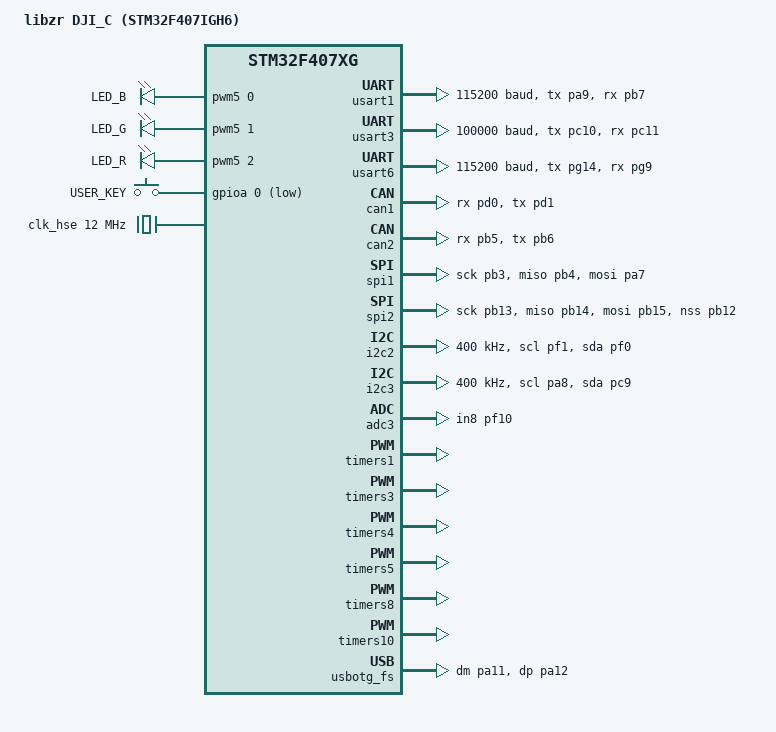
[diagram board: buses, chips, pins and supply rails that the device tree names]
/*
 * Copyright (c) 2026 libzr
 *
 * SPDX-License-Identifier: Apache-2.0
 *
 * libzr DJI_C 板级设备树
 *   MCU : STM32F407IGH6 (UFBGA176, 1 MB Flash / 128 KB SRAM + 64 KB CCM)
 *   晶振: HSE 12 MHz, SYSCLK 168 MHz
 *   调试: CMSIS-DAP / JLink, SWD
 *
 * 引脚定义来自 BetaRobot/cubemx/DJI_C 与 bsp/bsp_map/DJI_C。
 */

/dts-v1/;

#include <st/f4/stm32f407Xg.dtsi>
#include <st/f4/stm32f407i(e-g)hx-pinctrl.dtsi>
#include <zephyr/dt-bindings/input/input-event-codes.h>
#include <zephyr/dt-bindings/gpio/gpio.h>
#include <zephyr/dt-bindings/i2c/i2c.h>
#include <zephyr/dt-bindings/pwm/pwm.h>

/ {
	model = "libzr DJI_C (STM32F407IGH6)";
	compatible = "libzr,dji-c";

	chosen {
		/* USART3(PC10/PC11) 固定给 SBUS，控制台放在 USART6 */
		zephyr,console = &usart6;
		zephyr,shell-uart = &usart6;
		zephyr,sram = &sram0;
		zephyr,flash = &flash0;
		zephyr,canbus = &can1;
	};

	/* 三色灯由 TIM5 CH1/CH2/CH3 驱动 */
	pwmleds: pwmleds {
		compatible = "pwm-leds";

		led_b: led_0 {
			pwms = <&pwm5 0 PWM_MSEC(20) PWM_POLARITY_NORMAL>;
			label = "LED_B";
		};

		led_g: led_1 {
			pwms = <&pwm5 1 PWM_MSEC(20) PWM_POLARITY_NORMAL>;
			label = "LED_G";
		};

		led_r: led_2 {
			pwms = <&pwm5 2 PWM_MSEC(20) PWM_POLARITY_NORMAL>;
			label = "LED_R";
		};
	};

	gpio_keys: gpio_keys {
		compatible = "gpio-keys";

		/* 按键按低有效、内部上拉处理；若硬件相反请改为 GPIO_ACTIVE_HIGH */
		user_key: button_0 {
			label = "USER_KEY";
			gpios = <&gpioa 0 (GPIO_ACTIVE_LOW | GPIO_PULL_UP)>;
			zephyr,code = <INPUT_KEY_0>;
		};
	};

	aliases {
		led0 = &led_b;
		led1 = &led_g;
		led2 = &led_r;
		sw0 = &user_key;
	};
};

/* ------------------------------------------------------------------------- */
/* 时钟：HSE 12 MHz -> PLL 168 MHz                                            */
/* ------------------------------------------------------------------------- */

&clk_hse {
	clock-frequency = <DT_FREQ_M(12)>;
	status = "okay";
};

&pll {
	div-m = <6>;
	mul-n = <168>;
	div-p = <2>;
	div-q = <7>;
	clocks = <&clk_hse>;
	status = "okay";
};

&rcc {
	clocks = <&pll>;
	clock-frequency = <DT_FREQ_M(168)>;
	ahb-prescaler = <1>;
	apb1-prescaler = <4>;	/* 42 MHz  */
	apb2-prescaler = <2>;	/* 84 MHz  */
};

/* ------------------------------------------------------------------------- */
/* 串口                                                                       */
/* ------------------------------------------------------------------------- */

/* USART1: 图传 / 裁判系统 (921600 8N1) */
&usart1 {
	pinctrl-0 = <&usart1_tx_pa9 &usart1_rx_pb7>;
	pinctrl-names = "default";
	current-speed = <115200>;
	status = "okay";
};

/* USART3: SBUS 接收 (100000 8E1) */
&usart3 {
	pinctrl-0 = <&usart3_tx_pc10 &usart3_rx_pc11>;
	pinctrl-names = "default";
	current-speed = <100000>;
	status = "okay";
};

/* USART6: 控制台 / vofa */
&usart6 {
	pinctrl-0 = <&usart6_tx_pg14 &usart6_rx_pg9>;
	pinctrl-names = "default";
	current-speed = <115200>;
	status = "okay";
};

/* ------------------------------------------------------------------------- */
/* CAN                                                                        */
/* ------------------------------------------------------------------------- */

&can1 {
	pinctrl-0 = <&can1_rx_pd0 &can1_tx_pd1>;
	pinctrl-names = "default";
	status = "okay";
};

&can2 {
	pinctrl-0 = <&can2_rx_pb5 &can2_tx_pb6>;
	pinctrl-names = "default";
	status = "okay";
};

/* ------------------------------------------------------------------------- */
/* SPI                                                                        */
/* ------------------------------------------------------------------------- */

/* SPI1: BMI088 (PB3=SCK, PB4=MISO, PA7=MOSI) */
&spi1 {
	pinctrl-0 = <&spi1_sck_pb3 &spi1_miso_pb4 &spi1_mosi_pa7>;
	pinctrl-names = "default";
	status = "okay";
};

/* SPI2: PB13=SCK, PB14=MISO, PB15=MOSI, PB12=NSS */
&spi2 {
	pinctrl-0 = <&spi2_sck_pb13 &spi2_miso_pb14 &spi2_mosi_pb15 &spi2_nss_pb12>;
	pinctrl-names = "default";
	status = "okay";
};

/* ------------------------------------------------------------------------- */
/* I2C                                                                        */
/* ------------------------------------------------------------------------- */

/* I2C2: PF1=SCL, PF0=SDA */
&i2c2 {
	pinctrl-0 = <&i2c2_scl_pf1 &i2c2_sda_pf0>;
	pinctrl-names = "default";
	clock-frequency = <I2C_BITRATE_FAST>;
	status = "okay";
};

/* I2C3: PA8=SCL, PC9=SDA */
&i2c3 {
	pinctrl-0 = <&i2c3_scl_pa8 &i2c3_sda_pc9>;
	pinctrl-names = "default";
	clock-frequency = <I2C_BITRATE_FAST>;
	status = "okay";
};

/* ------------------------------------------------------------------------- */
/* ADC                                                                        */
/* ------------------------------------------------------------------------- */

/* ADC3_IN8: PF10 */
&adc3 {
	pinctrl-0 = <&adc3_in8_pf10>;
	pinctrl-names = "default";
	st,adc-prescaler = <4>;
	status = "okay";
};

/* ------------------------------------------------------------------------- */
/* PWM                                                                        */
/* ------------------------------------------------------------------------- */

/* TIM1: PE9 / PE11 / PE13 / PE14 */
&timers1 {
	status = "okay";

	pwm1: pwm {
		status = "okay";
		pinctrl-0 = <&tim1_ch1_pe9 &tim1_ch2_pe11
			     &tim1_ch3_pe13 &tim1_ch4_pe14>;
		pinctrl-names = "default";
	};
};

/* TIM3_CH3: PC8，激光 */
&timers3 {
	status = "okay";

	pwm3: pwm {
		status = "okay";
		pinctrl-0 = <&tim3_ch3_pc8>;
		pinctrl-names = "default";
	};
};

/* TIM4_CH3: PD14，蜂鸣器 (4 kHz) */
&timers4 {
	status = "okay";

	pwm4: pwm {
		status = "okay";
		pinctrl-0 = <&tim4_ch3_pd14>;
		pinctrl-names = "default";
	};
};

/* TIM5: PH10 / PH11 / PH12，三色灯 */
&timers5 {
	status = "okay";

	pwm5: pwm {
		status = "okay";
		pinctrl-0 = <&tim5_ch1_ph10 &tim5_ch2_ph11 &tim5_ch3_ph12>;
		pinctrl-names = "default";
	};
};

/* TIM8: PC6 / PI6 / PI7 */
&timers8 {
	status = "okay";

	pwm8: pwm {
		status = "okay";
		pinctrl-0 = <&tim8_ch1_pc6 &tim8_ch2_pi6 &tim8_ch3_pi7>;
		pinctrl-names = "default";
	};
};

/* TIM10_CH1: PF6，加热 */
&timers10 {
	status = "okay";

	pwm10: pwm {
		status = "okay";
		pinctrl-0 = <&tim10_ch1_pf6>;
		pinctrl-names = "default";
	};
};

/* ------------------------------------------------------------------------- */
/* USB                                                                        */
/* ------------------------------------------------------------------------- */

zephyr_udc0: &usbotg_fs {
	pinctrl-0 = <&usb_otg_fs_dm_pa11 &usb_otg_fs_dp_pa12>;
	pinctrl-names = "default";
	status = "okay";
};
